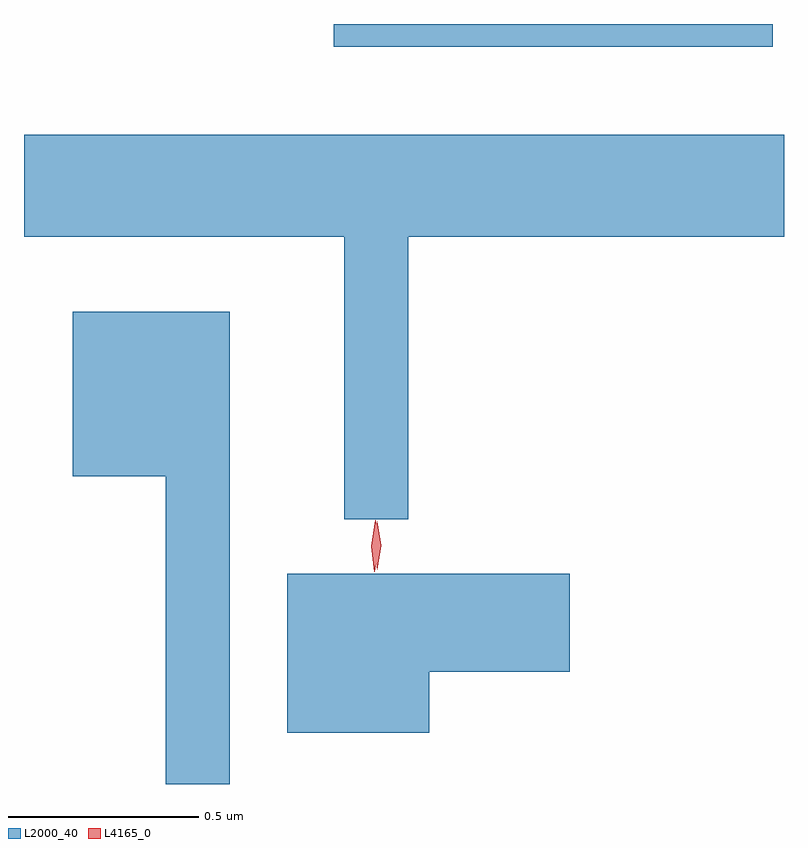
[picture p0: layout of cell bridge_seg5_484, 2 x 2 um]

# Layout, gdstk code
import gdstk
lib = gdstk.Library(unit=1e-6, precision=1e-09)
def R(c, l, rs):  # rectangles x0, y0, x1, y1
    for r in rs: c.add(gdstk.rectangle(r[:2], r[2:], *l))
def P(c, l, *ps):  # polygons
    for p in ps: c.add(gdstk.Polygon(p, *l))
L2000_40 = (2000, 40)
L4165_0 = (4165, 0)

bridge_seg5_484 = lib.new_cell('bridge_seg5_484')
R(bridge_seg5_484, L2000_40, [(261.863,1519.456,263.019,1519.516)])
P(bridge_seg5_484, L2000_40, [(262.059,1518.956),(263.048,1518.956),(263.048,1519.224),(261.048,1519.224),(261.048,1518.956),(261.891,1518.956),(261.891,1518.213),(262.059,1518.213)],
  [(261.589,1518.759),(261.176,1518.759),(261.176,1518.326),(261.421,1518.326),(261.421,1517.516),(261.589,1517.516)],
  [(262.114,1517.811),(262.484,1517.811),(262.484,1518.069),(261.741,1518.069),(261.741,1517.651),(262.114,1517.651)])
P(bridge_seg5_484, L4165_0, [(261.977,1518.08),(261.968,1518.144),(261.977,1518.206),(261.978,1518.207),(261.978,1518.206),(261.988,1518.144),(261.978,1518.08),(261.978,1518.08)],
  [(261.97,1518.074),(261.962,1518.142),(261.972,1518.21),(261.972,1518.21),(261.973,1518.21),(261.982,1518.142),(261.971,1518.074),(261.971,1518.074)])

lib.write_gds('bridge_seg5_484.gds')
